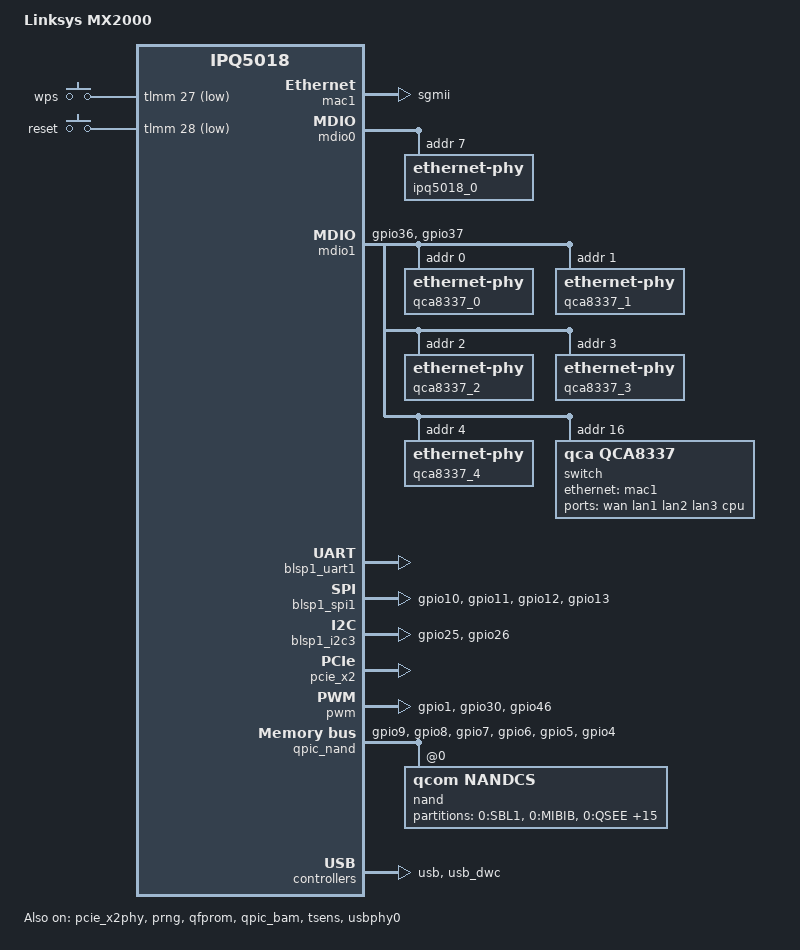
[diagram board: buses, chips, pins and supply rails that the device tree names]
/dts-v1/;

#include "ipq5018.dtsi"
/*#include "ipq5018-ess.dtsi"*/

#include <dt-bindings/gpio/gpio.h>
#include <dt-bindings/input/input.h>
#include <dt-bindings/leds/common.h>

/ {
	model = "Linksys MX2000";
	compatible = "linksys,mx2000", "qcom,ipq5018";

    aliases {
		serial0 = &blsp1_uart1;

		ethernet0 = &mac1;

		/*
		led-boot = &led_system_blue;
		led-failsafe = &led_system_red;
		led-running = &led_system_blue;
		led-upgrade = &led_system_red;
		*/
	};

    chosen {
        bootargs = "earlycon console=ttyMSM0,115200,n8 rw init=/init";
        bootargs-append = " swiotlb=1 coherent_pool=2M root=/dev/ubiblock0_1";
		stdout-path = "serial0:115200n8";
	};

	keys {
		compatible = "gpio-keys";
		pinctrl-0 = <&button_pins>;
		pinctrl-names = "default";

		wps-button {
			label = "wps";
			gpios = <&tlmm 27 GPIO_ACTIVE_LOW>;
			linux,code = <KEY_WPS_BUTTON>;
		};

		reset-button {
			label = "reset";
			gpios = <&tlmm 28 GPIO_ACTIVE_LOW>;
			linux,code = <KEY_RESTART>;
		};
	};

	/*
	leds {
		compatible = "pwm-leds";

		led_system_red: red {
			label = "red:system";
			pwms = <&pwm 3 1250000>;
			max-brightness = <255>;
		};

		green {
			label = "green:system";
			pwms = <&pwm 0 1250000>;
			max-brightness = <255>;
		};

		led_system_blue: blue {
			label = "blue:system";
			pwms = <&pwm 1 1250000>;
			max-brightness = <255>;
			linux,default-trigger = "default-on";
		};
	};
	*/

	reserved-memory {
		/*
		q6_code_data: q6_code_data@4b000000 {
			no-map;
			reg = <0x0 0x4b000000 0x0 0x60000>;
		};

		q6_ipq5018_data: q6_ipq5018_data@4c400000 {
			no-map;
			reg = <0x0 0x4c400000 0x0 0xe00000>;
		};

		q6_m3_region: m3_dump@4d200000 {
			no-map;
			reg = <0x0 0x4d200000 0x0 0x100000>;
		};

		q6_etr_region: q6_etr_dump@4d300000 {
			no-map;
			reg = <0x0 0x4d300000 0x0 0x100000>;
		};

		q6_caldb_region: q6_caldb_region@4d400000 {
			no-map;
			reg = <0x0 0x4d400000 0x0 0x200000>;
		};

		q6_qcn6122_data1: q6_qcn6122_data1@4d600000 {
			no-map;
			reg = <0x0 0x4d600000 0x0 0x1000000>;
		};

		q6_qcn6122_m3_1: q6_qcn6122_m3_1@4e600000 {
			no-map;
			reg = <0x0 0x4e600000 0x0 0x100000>;
		};

		q6_qcn6122_etr_1: q6_qcn6122_etr_1@4e700000 {
			no-map;
			reg = <0x0 0x4e700000 0x0 0x100000>;
		};

		q6_qcn6122_caldb_1: q6_qcn6122_caldb_1@4e800000 {
			no-map;
			reg = <0x0 0x4e800000 0x0 0x500000>;
		};

		q6_qcn6122_data2: q6_qcn6122_data20@4ed00000 {
			no-map;
			reg = <0x0 0x4ed00000 0x0 0x1000000>;
		};

		q6_qcn6122_m3_2: q6_qcn6122_m3_2@4fd00000 {
			no-map;
			reg = <0x0 0x4fd00000 0x0 0x100000>;
		};

		q6_qcn6122_etr_2: q6_qcn6122_etr_2@4fe00000 {
			no-map;
			reg = <0x0 0x4fe00000 0x0 0x100000>;
		};

		q6_qcn6122_caldb_2: q6_qcn6122_caldb_2@4ff00000 {
			no-map;
			reg = <0x0 0x4ff00000 0x0 0x500000>;
		};
		*/
	};
};

&soc {
	
	ess-uniphy@98000 {
		compatible = "qcom,ess-uniphy";
		reg = <0x98000 0x800>;
		uniphy_access_mode = "local bus";
	};

	nss-dp-common {
		compatible = "qcom,nss-dp-common";
		qcom,tcsr-base = <0x01937000>;
	};

	ess-instance {
		num_devices = <2>;

		ess-switch@0x39c00000 {	
			compatible = "qcom,ess-switch-ipq50xx";
			reg = <0x39c00000 0x200000>;
			switch_access_mode = "local bus";

			clocks = <&gcc GCC_CMN_BLK_AHB_CLK>,
				<&gcc GCC_CMN_BLK_SYS_CLK>,
				<&gcc GCC_UNIPHY_AHB_CLK>,
				<&gcc GCC_UNIPHY_SYS_CLK>,
				<&gcc GCC_MDIO0_AHB_CLK>,
				<&gcc GCC_MDIO1_AHB_CLK>,
				<&gcc GCC_GMAC0_CFG_CLK>,
				<&gcc GCC_GMAC0_SYS_CLK>,
				<&gcc GCC_GMAC1_CFG_CLK>,
				<&gcc GCC_GMAC1_SYS_CLK>,
				<&gcc GCC_GEPHY_RX_CLK>,
				<&gcc GCC_GEPHY_TX_CLK>,
				<&gcc GCC_UNIPHY_RX_CLK>,
				<&gcc GCC_UNIPHY_TX_CLK>,
				<&gcc GCC_GMAC0_RX_CLK>,
				<&gcc GCC_GMAC0_TX_CLK>,
				<&gcc GCC_GMAC1_RX_CLK>,
				<&gcc GCC_GMAC1_TX_CLK>,
				<&gcc GCC_SNOC_GMAC0_AHB_CLK>,
				<&gcc GCC_SNOC_GMAC1_AHB_CLK>,
				<&gcc GCC_GMAC0_PTP_CLK>,
				<&gcc GCC_GMAC1_PTP_CLK>;
			clock-names = "cmn_ahb_clk", "cmn_sys_clk",
					"uniphy_ahb_clk", "uniphy_sys_clk",
					"gcc_mdio0_ahb_clk",
					"gcc_mdio1_ahb_clk",
					"gcc_gmac0_cfg_clk",
					"gcc_gmac0_sys_clk",
					"gcc_gmac1_cfg_clk",
					"gcc_gmac1_sys_clk",
					"uniphy0_port1_rx_clk",
					"uniphy0_port1_tx_clk",
					"uniphy1_port5_rx_clk",
					"uniphy1_port5_tx_clk",
					"nss_port1_rx_clk", "nss_port1_tx_clk",
					"nss_port2_rx_clk", "nss_port2_tx_clk",
					"gcc_snoc_gmac0_ahb_clk",
					"gcc_snoc_gmac1_ahb_clk",
					"gcc_gmac0_ptp_clk",
					"gcc_gmac1_ptp_clk";
			resets = <&gcc GCC_GEPHY_BCR>, 
				<&gcc GCC_UNIPHY_BCR>,
				<&gcc GCC_GMAC0_BCR>,
				<&gcc GCC_GMAC1_BCR>,
				<&gcc GCC_UNIPHY_SOFT_RESET>,
				<&gcc GCC_GEPHY_MISC_ARES>;
			reset-names = "gephy_bcr_rst",
				"uniphy_bcr_rst",
				"gmac0_bcr_rst",
				"gmac1_bcr_rst",
				"uniphy1_soft_rst",
				"gephy_misc_rst";

			device_id = <0>;
			switch_mac_mode = <0xf>; /* mac mode for uniphy instance*/
			cmnblk_clk = "internal_96MHz";

			status = "okay";

			qcom,port_phyinfo {
				// ipq5018 MAC0 -> Phy7 -> Phy0 -> qca8337 MAC1
				port@0 {
					port_id = <1>;
					mdiobus = <&mdio0>;
					phy_address = <7>;
				};
				// ipq5018 MAC1 -> SGMII -> qca8337 MAC6
				port@1 {
					port_id = <2>;
					forced-speed = <1000>;
					forced-duplex = <1>;
				};
			};
		};

		ess-switch1@1 {
			compatible = "qcom,ess-switch-qca83xx";
			device_id = <1>;
			switch_access_mode = "mdio";
			mdio-bus = <&mdio1>;

			reset_gpio = <&tlmm 39 GPIO_ACTIVE_LOW>;
			
			switch_cpu_bmp = <0x40>;  	/* cpu port bitmap: port 6 */
			switch_lan_bmp = <0x38>; 	/* lan port bitmap: port 3 4 5 */
			switch_wan_bmp = <0x04>;  	/* wan port bitmap: port 2 */
			qca,ar8327-initvals = <
					0x00004 0x7600000   /* PAD0_MODE */
					0x00008 0x1000000   /* PAD5_MODE */
					0x0000c 0x80        /* PAD6_MODE */
					0x00010 0x2613a0    /* PORT6 FORCE MODE*/
					0x000e4 0xaa545     /* MAC_POWER_SEL */
					0x000e0 0xc74164de  /* SGMII_CTRL */
					0x0007c 0x4e        /* PORT0_STATUS */
					0x00094 0x10ce      /* PORT6_STATUS */
			>;
			
			status = "okay";

			qcom,port_phyinfo {
				// MAC1 -> Phy0 -> IPQ5018 GE Phy
				port@1 {
					port_id = <1>;
					phy_address = <0>;
				};

				// MAC2 -> Phy0 -> WAN
				port@2 {
					port_id = <2>;
					phy_address = <1>;
				};

				// MAC3 -> Phy1 -> LAN1
				port@3 {
					port_id = <3>;
					phy_address = <2>;
				};

				// MAC4 -> Phy2 -> LAN2
				port@4 {
					port_id = <4>;
					phy_address = <3>;
				};

				// MAC5 -> Phy3 -> LAN3
				port@5 {
					port_id = <5>;
					phy_address = <4>;
				};

				// MAC6 ---SGMII---> ipq5018 MAC1
				port@6 {
					port_id = <6>;

					forced-speed = <1000>;
					forced-duplex = <1>;
				};
			};
		};
	};

	// ipq5018 MAC1 ---SGMII---> QCA8337 SerDes
	mac1: dp2 {
		compatible = "qcom,nss-dp";
		device_type = "network";
		qcom,id = <2>;

		reg = <0x39d00000 0x10000>;
		interrupts = <GIC_SPI 109 IRQ_TYPE_LEVEL_HIGH>;
		clocks = <&gcc GCC_SNOC_GMAC1_AXI_CLK>;
		clock-names = "nss-snoc-gmac-axi-clk";

		qcom,mactype = <2>; // GMAC_HAL_TYPE_SYN_GMAC
		local-mac-address = [000000000000];
		phy-mode = "sgmii";
	};
};

&mdio0 {
	status = "okay";

	resets = <&gcc GCC_GEPHY_MDC_SW_ARES>;
	reset-names = "gephy_mdc_rst";

	//IPQ5018 GE Phy -> QCA8337 Phy0
	ipq5018_0: ethernet-phy@0 {
		reg = <7>;
	};
};

&mdio1 {
	status = "okay";

	pinctrl-0 = <&mdio1_pins>;
	pinctrl-names = "default";
	phy-reset-gpio = <&tlmm 39 GPIO_ACTIVE_LOW>;

	// QCA8337 Phy0 -> IPQ5018 GE Phy
	qca8337_0: ethernet-phy@0 {
		reg = <0>;
	};

	// QCA8337 Phy1 -> WAN
	qca8337_1: ethernet-phy@1 {
		reg = <1>;
	};

	// QCA8337 Phy2 -> LAN1
	qca8337_2: ethernet-phy@2 {
		reg = <2>;
	};

	// QCA8337 Phy3 -> LAN2
	qca8337_3: ethernet-phy@3 {
		reg = <3>;
	};

	// QCA8337 Phy4 -> LAN3
	qca8337_4: ethernet-phy@4 {
		reg = <4>;
	};

	switch@10 {
		compatible = "qca,qca8337";
		#address-cells = <1>;
		#size-cells = <0>;
		reg = <0x10>;

		ports {
			#address-cells = <1>;
			#size-cells = <0>;

			port@2 {
				reg = <2>;
				label = "wan";
				phy-handle = <&qca8337_1>;
			};

			port@3 {
				reg = <3>;
				label = "lan1";
				phy-handle = <&qca8337_2>;
			};

			port@4 {
				reg = <4>;
				label = "lan2";
				phy-handle = <&qca8337_3>;
			};

			port@5 {
				reg = <5>;
				label = "lan3";
				phy-handle = <&qca8337_4>;
			};

			port@6 {
				reg = <6>;
				label = "cpu";
				ethernet = <&mac1>;
				phy-mode = "sgmii";
				fixed-link {
					speed = <1000>;
					full-duplex;
				};
			};
		};
	};
};

&sleep_clk {
	clock-frequency = <32000>;
};

&xo_board_clk {
	clock-frequency = <24000000>;
};

&uart1_pins {
	pins = "gpio20", "gpio21";
	function = "blsp0_uart0";
};

&blsp1_uart1 {
	status = "okay";

	pinctrl-0 = <&uart1_pins>;
	pinctrl-names = "default";
};

&blsp1_spi1 {
	status = "okay";

	pinctrl-0 = <&spi_0_pins>;
	pinctrl-names = "default";
};

&blsp1_i2c3 {
	status = "okay";

	pinctrl-0 = <&i2c_1_pins>;
	pinctrl-names = "default";
};

/*
&pcie_x1phy {
	status = "okay";
};

&pcie_x1 {
	status = "okay";

	perst-gpios = <&tlmm 18 GPIO_ACTIVE_LOW>;
};
*/

&pcie_x2phy {
	status = "okay";
};

&pcie_x2 {
	status = "okay";

	perst-gpios = <&tlmm 15 GPIO_ACTIVE_LOW>;
};

&prng {
	status = "okay";
};

&pwm {
	status = "okay";

	#pwm-cells = <2>;

	pinctrl-0 = "&pwm_pins";
	pinctrl-names = "default";
};

&qfprom {
	status = "okay";
};

&qpic_bam {
	status = "okay";
};

&qpic_nand {
	pinctrl-0 = <&qpic_pins>;
	pinctrl-names = "default";
    status = "okay";

    nand@0 {
        compatible = "qcom,nandcs";
        reg = <0>;
        #address-cells = <1>;
        #size-cells = <1>;

        nand-ecc-strength = <4>;
        nand-ecc-step-size = <512>;
        nand-bus-width = <8>;

        partitions {
            compatible = "fixed-partitions";
			#address-cells = <1>;
			#size-cells = <1>;

			partition@0 {
				label = "0:SBL1";
				reg = <0x00000000 0x80000>;
				read-only;
			};

            partition@80000 {
				label = "0:MIBIB";
				reg = <0x00080000 0x20000>;
				read-only;
			};

            partition@100000 {
				label = "0:QSEE";
				reg = <0x00100000 0x100000>;
				read-only;
			};

            partition@200000 {
				label = "0:DEVCFG";
				reg = <0x00200000 0x40000>;
				read-only;
			};

            partition@240000 {
				label = "0:CDT";
				reg = <0x00240000 0x40000>;
				read-only;
			};

            partition@280000 {
				label = "0:APPSBLENV";
				reg = <0x00280000 0x20000>;
			};

            partition@300000 {
				label = "0:APPSBL";
				reg = <0x00300000 0x140000>;
				read-only;
			};

            partition@440000 {
				compatible = "nvmem-cells";
				label = "0:ART";
				reg = <0x00440000 0x100000>;
				#address-cells = <1>;
				#size-cells = <1>;
				read-only;
			};

            partition@540000 {
				label = "0:TRAINING";
				reg = <0x00540000 0x80000>;
				read-only;
			};

            partition@5c0000 {
				label = "u_env";
				reg = <0x005c0000 0x80000>;
			};

            partition@640000 {
				label = "s_env";
				reg = <0x00640000 0x40000>;
			};

            partition@680000 {
				label = "devinfo";
				reg = <0x00680000 0x40000>;
				read-only;
			};

            partition@6c0000 {
				label = "kernel";
				reg = <0x006c0000 0x5200000>;
			};

            partition@ec0000 {
				label = "rootfs";
				reg = <0x0ec0000 0x4a00000>;
			};

            partition@58c0000 {
				label = "alt_kernel";
				reg = <0x058c0000 0x5200000>;
			};

            partition@60c0000 {
				label = "alt_rootfs";
				reg = <0x060c0000 0x4a00000>;
			};

            partition@aac0000 {
				label = "sysdiag";
				reg = <0x0aac0000 0x200000>;
				read-only;
			};

            partition@acc0000 {
				label = "syscfg";
				reg = <0x0acc0000 0x4400000>;
				read-only;
			};
        };
    };
};

&tlmm {
	button_pins: button-state {
        pins = "gpio27", "gpio28";
        function = "gpio";
        drive-strength = <8>;
        bias-pull-up;
	};

	i2c_1_pins: i2c-1-state {
		pins = "gpio25", "gpio26";
		function = "blsp2_i2c1";
		drive-strength = <8>;
		bias-disable;
	};

	mdio1_pins: mdio-state {
		mdc-pins {
			pins = "gpio36";
			function = "mdc";
			drive-strength = <8>;
			bias-pull-up;
		};

		mdio-pins {
			pins = "gpio37";
			function = "mdio";
			drive-strength = <8>;
			bias-pull-up;
		};
	};

	pwm_pins: pwm-state {
		mux_1 {
			pins = "gpio1";
			function = "_";
			drive-strength = <8>;
		};

		mux_2 {
			pins = "gpio30";
			function = "pwm3";
			drive-strength = <8>;
		};

		mux_3 {
			pins = "gpio46";
			function = "pwm0";
			drive-strength = <8>;
		};
	};

	qpic_pins: qpic-state {
		pins = "gpio9", "gpio8", "gpio7", "gpio6", "gpio5", "gpio4";
		function = "qpic";
		drive-strength = <8>;
		bias-disable;
	};

	spi_0_pins: spi-0-state {
		pins = "gpio10", "gpio11", "gpio12", "gpio13";
		function = "blsp0_spi";
		drive-strength = <2>;
		bias-disable;
	};
};

&tsens {
	status = "okay";
};

&usbphy0 {
	status = "okay";
};

&usb {
	status = "okay";
};

&usb_dwc {
	status = "okay";
};

&wifi0 {
	status = "disabled";

	qcom,ath11k-calibration-variant = "Linksys-MX2000";
	qcom,ath11k-fw-memory-mode = <1>;
};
